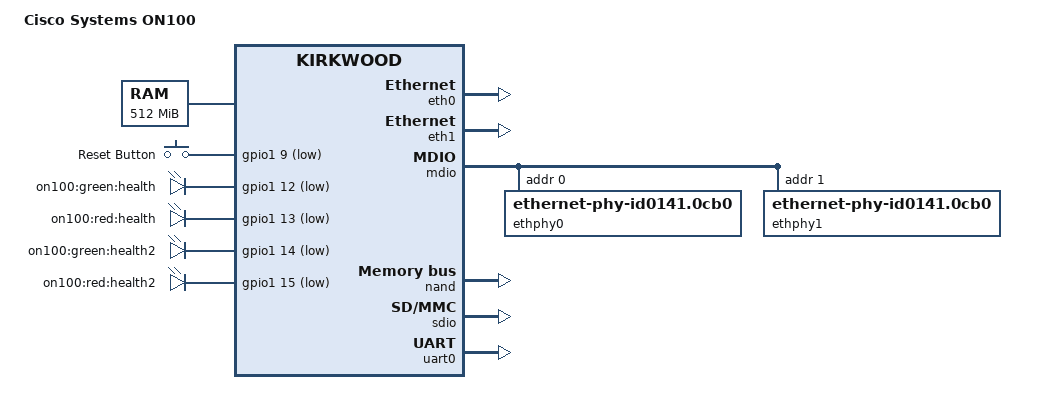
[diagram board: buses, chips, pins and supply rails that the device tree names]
/dts-v1/;

#include "kirkwood.dtsi"
#include "kirkwood-6282.dtsi"

/ {
	model = "Cisco Systems ON100";
	compatible = "cisco,on100", "marvell,kirkwood-88f6282", "marvell,kirkwood";

	memory@0 {
		device_type = "memory";
		reg = <0x00000000 0x20000000>;
	};

	aliases {
		led-boot = &led_health_green;
		led-failsafe = &led_health_red;
		led-running = &led_health_green;
		led-upgrade = &led_health_red;
		serial0 = &uart0;
	};

	chosen {
		bootargs = "console=ttyS0,115200n8 earlyprintk";
		stdout-path = "serial0:115200n8";
	};

	gpio-keys {
		compatible = "gpio-keys";

		pinctrl-0 = <&pmx_btn_reset>;
		pinctrl-names = "default";

		reset {
			label = "Reset Button";
			linux,code = <KEY_RESTART>;
			gpios = <&gpio1 9 GPIO_ACTIVE_LOW>;
		};
	};

	gpio-leds {
		compatible = "gpio-leds";

		pinctrl-0 = <&pmx_led_health_red &pmx_led_health_green>;
		pinctrl-names = "default";

		led_health_green: health-green {
			label = "on100:green:health";
			gpios = <&gpio1 12 GPIO_ACTIVE_LOW>;
			default-state = "on";
		};

		led_health_red: health-red {
			label = "on100:red:health";
			gpios = <&gpio1 13 GPIO_ACTIVE_LOW>;
		};

		health2-green {
			label = "on100:green:health2";
			gpios = <&gpio1 14 GPIO_ACTIVE_LOW>;
		};

		health2-red {
			label = "on100:red:health2";
			gpios = <&gpio1 15 GPIO_ACTIVE_LOW>;
		};
	};
};

&eth0 {
	status = "okay";

	ethernet0-port@0 {
		phy-handle = <&ethphy0>;
		phy-connection-type = "rgmii-id";
	};
};

&eth1 {
	status = "okay";

	ethernet1-port@0 {
		phy-handle = <&ethphy1>;
		phy-connection-type = "rgmii-id";
	};
};

&mdio {
	status = "okay";

	ethphy0: ethernet-phy@0 {
		/* Marvell 88E1121R */
		compatible = "ethernet-phy-id0141.0cb0",
			     "ethernet-phy-ieee802.3-c22";
		reg = <0>;
	};

	ethphy1: ethernet-phy@1 {
		/* Marvell 88E1121R */
		compatible = "ethernet-phy-id0141.0cb0",
			     "ethernet-phy-ieee802.3-c22";
		reg = <1>;
	};
};

&nand {
	status = "okay";

	partition@0 {
		label = "u-boot";
		reg = <0x00000000 0x000a0000>;
		read-only;
	};

	partition@a0000 {
		label = "u-boot environment";
		reg = <0x000a0000 0x00020000>;
		read-only;
	};

	partition@c0000 {
		label = "kernel";
		reg = <0x000c0000 0x00540000>;
	};

	partition@600000 {
		label = "ubi";
		reg = <0x00600000 0x1fa00000>;
	};
};

&pinctrl {
	pmx_led_health_red: pmx-led-health-red {
		marvell,pins = "mpp45";
		marvell,function = "gpio";
	};

	pmx_led_health_green: pmx-led-health-green {
		marvell,pins = "mpp44";
		marvell,function = "gpio";
	};

	pmx_led_health2_red: pmx-led-health2-red {
		marvell,pins = "mpp47";
		marvell,function = "gpio";
	};

	pmx_led_health2_green: pmx-led-health2-green {
		marvell,pins = "mpp46";
		marvell,function = "gpio";
	};

	pmx_btn_reset: pmx-btn-reset {
		marvell,pins = "mpp31";
		marvell,function = "gpio";
	};
};

&sdio {
	status = "okay";
};

&uart0 {
	status = "okay";
};
